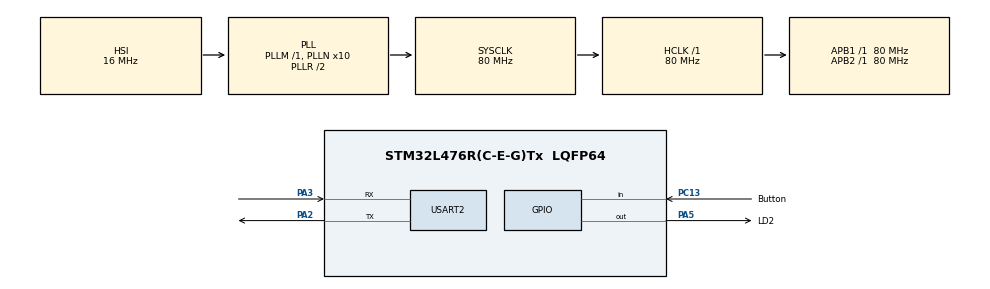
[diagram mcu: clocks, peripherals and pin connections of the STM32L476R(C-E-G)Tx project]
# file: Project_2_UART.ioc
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Mcu.Family=STM32L4
Mcu.Name=STM32L476R(C-E-G)Tx
Mcu.Package=LQFP64
NVIC.PriorityGroup=NVIC_PRIORITYGROUP_4
PA2.Mode=Asynchronous
PA2.Signal=USART2_TX
PA3.Mode=Asynchronous
PA3.Signal=USART2_RX
PA5.GPIO_Label=LD2
PA5.Signal=GPIO_Output
PC13.GPIO_Label=Button
PC13.Signal=GPIO_Input
ProjectManager.HeapSize=0x200
ProjectManager.StackSize=0x400
ProjectManager.TargetToolchain=STM32CubeIDE
RCC.ADCFreq_Value=64000000
RCC.AHBFreq_Value=80000000
RCC.APB1Freq_Value=80000000
RCC.APB1TimFreq_Value=80000000
RCC.APB2Freq_Value=80000000
RCC.APB2TimFreq_Value=80000000
RCC.CortexFreq_Value=80000000
RCC.HCLKFreq_Value=80000000
RCC.HSE_VALUE=8000000
RCC.HSI_VALUE=16000000
RCC.LSE_VALUE=32768
RCC.MSI_VALUE=4000000
RCC.PLLN=10
RCC.PLLSourceVirtual=RCC_PLLSOURCE_HSI
RCC.PREFETCH_ENABLE=1
RCC.SYSCLKFreq_VALUE=80000000
RCC.SYSCLKSource=RCC_SYSCLKSOURCE_PLLCLK
RCC.USBFreq_Value=64000000
RCC.VCOOutputFreq_Value=160000000
USART2.OverrunDisableParam=ADVFEATURE_OVERRUN_DISABLE
USART2.VirtualMode-Asynchronous=VM_ASYNC
board=NUCLEO-L476RG

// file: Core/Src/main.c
/* USER CODE BEGIN Header */
/**
  ******************************************************************************
  * @file           : main.c
  * @brief          : Main program body
  ******************************************************************************
  * @attention
  *
  * Copyright (c) 2024 STMicroelectronics.
  * All rights reserved.
  *
  * This software is licensed under terms that can be found in the LICENSE file
  * in the root directory of this software component.
  * If no LICENSE file comes with this software, it is provided AS-IS.
  *
  ******************************************************************************
  */
/* USER CODE END Header */
#include "main.h"
#include <stdio.h>
#include <string.h>

UART_HandleTypeDef huart2;

void SystemClock_Config(void);
static void MX_GPIO_Init(void);
static void MX_USART2_UART_Init(void);

/* USER CODE BEGIN 0 */
#define LINE_MAX_LENGTH	80

static char line_buffer[LINE_MAX_LENGTH + 1];
static uint32_t line_length;

void line_append(uint8_t value)
{
	if (value == '\r' || value == '\n') {
		// odebraliśmy znak końca linii
		if (line_length > 0) {
			// jeśli bufor nie jest pusty to dodajemy 0 na końcu linii
			line_buffer[line_length] = '\0';
			// przetwarzamy dane
			if (strcmp(line_buffer, "on") == 0) {
				HAL_GPIO_WritePin(LD2_GPIO_Port, LD2_Pin, GPIO_PIN_SET);
			} else if (strcmp(line_buffer, "off") == 0) {
				HAL_GPIO_WritePin(LD2_GPIO_Port, LD2_Pin, GPIO_PIN_RESET);
			} else {
				printf("Nieznane polecenie: %s\n", line_buffer);
			}
			// zaczynamy zbieranie danych od nowa
			line_length = 0;
		}
	}
	else {
		if (line_length >= LINE_MAX_LENGTH) {
			// za dużo danych, usuwamy wszystko co odebraliśmy dotychczas
			line_length = 0;
		}
		// dopisujemy wartość do bufora
		line_buffer[line_length++] = value;
	}
}

int __io_putchar(int ch)
{
    if (ch == '\n') {
        uint8_t ch2 = '\r';
        HAL_UART_Transmit(&huart2, &ch2, 1, HAL_MAX_DELAY);
    }

	HAL_UART_Transmit(&huart2, (uint8_t*)&ch, 1, HAL_MAX_DELAY);
	return 1;
}
/* USER CODE END 0 */

int main(void)
{

  /* MCU Configuration--------------------------------------------------------*/

  /* Reset of all peripherals, Initializes the Flash interface and the Systick. */
  HAL_Init();

  /* Configure the system clock */
  SystemClock_Config();

  /* Initialize all configured peripherals */
  MX_GPIO_Init();
  MX_USART2_UART_Init();
  /* USER CODE BEGIN 2 */
  	  int number = 0;
  	  //float pi = 3.14;
  	  //printf("Liczba pi: %f\n", pi);
  /* USER CODE END 2 */

  /* Infinite loop */
  /* USER CODE BEGIN WHILE */
  while (1)
  {
	  if (HAL_GPIO_ReadPin(Button_GPIO_Port, Button_Pin) == GPIO_PIN_RESET){
		  HAL_Delay(500);
		  number++;
		  printf("Liczba: %d\n", number);
	  }
	  if(number > 10){
		  HAL_GPIO_WritePin(LD2_GPIO_Port, LD2_Pin, GPIO_PIN_SET);
	  }
	  uint8_t value;
	  	  if (HAL_UART_Receive(&huart2, &value, 1, 0) == HAL_OK)
	  		  line_append(value);

    /* USER CODE END WHILE */

  }
}

void SystemClock_Config(void)
{
  RCC_OscInitTypeDef RCC_OscInitStruct = {0};
  RCC_ClkInitTypeDef RCC_ClkInitStruct = {0};

  /** Configure the main internal regulator output voltage
  */
  if (HAL_PWREx_ControlVoltageScaling(PWR_REGULATOR_VOLTAGE_SCALE1) != HAL_OK)
  {
    Error_Handler();
  }

  /** Initializes the RCC Oscillators according to the specified parameters
  * in the RCC_OscInitTypeDef structure.
  */
  RCC_OscInitStruct.OscillatorType = RCC_OSCILLATORTYPE_HSI;
  RCC_OscInitStruct.HSIState = RCC_HSI_ON;
  RCC_OscInitStruct.HSICalibrationValue = RCC_HSICALIBRATION_DEFAULT;
  RCC_OscInitStruct.PLL.PLLState = RCC_PLL_ON;
  RCC_OscInitStruct.PLL.PLLSource = RCC_PLLSOURCE_HSI;
  RCC_OscInitStruct.PLL.PLLM = 1;
  RCC_OscInitStruct.PLL.PLLN = 10;
  RCC_OscInitStruct.PLL.PLLP = RCC_PLLP_DIV7;
  RCC_OscInitStruct.PLL.PLLQ = RCC_PLLQ_DIV2;
  RCC_OscInitStruct.PLL.PLLR = RCC_PLLR_DIV2;
  if (HAL_RCC_OscConfig(&RCC_OscInitStruct) != HAL_OK)
  {
    Error_Handler();
  }

  /** Initializes the CPU, AHB and APB buses clocks
  */
  RCC_ClkInitStruct.ClockType = RCC_CLOCKTYPE_HCLK|RCC_CLOCKTYPE_SYSCLK
                              |RCC_CLOCKTYPE_PCLK1|RCC_CLOCKTYPE_PCLK2;
  RCC_ClkInitStruct.SYSCLKSource = RCC_SYSCLKSOURCE_PLLCLK;
  RCC_ClkInitStruct.AHBCLKDivider = RCC_SYSCLK_DIV1;
  RCC_ClkInitStruct.APB1CLKDivider = RCC_HCLK_DIV1;
  RCC_ClkInitStruct.APB2CLKDivider = RCC_HCLK_DIV1;

  if (HAL_RCC_ClockConfig(&RCC_ClkInitStruct, FLASH_LATENCY_4) != HAL_OK)
  {
    Error_Handler();
  }
}

static void MX_USART2_UART_Init(void)
{

  huart2.Instance = USART2;
  huart2.Init.BaudRate = 115200;
  huart2.Init.WordLength = UART_WORDLENGTH_8B;
  huart2.Init.StopBits = UART_STOPBITS_1;
  huart2.Init.Parity = UART_PARITY_NONE;
  huart2.Init.Mode = UART_MODE_TX_RX;
  huart2.Init.HwFlowCtl = UART_HWCONTROL_NONE;
  huart2.Init.OverSampling = UART_OVERSAMPLING_16;
  huart2.Init.OneBitSampling = UART_ONE_BIT_SAMPLE_DISABLE;
  huart2.AdvancedInit.AdvFeatureInit = UART_ADVFEATURE_RXOVERRUNDISABLE_INIT;
  huart2.AdvancedInit.OverrunDisable = UART_ADVFEATURE_OVERRUN_DISABLE;
  if (HAL_UART_Init(&huart2) != HAL_OK)
  {
    Error_Handler();
  }

}

static void MX_GPIO_Init(void)
{
  GPIO_InitTypeDef GPIO_InitStruct = {0};

  /* GPIO Ports Clock Enable */
  __HAL_RCC_GPIOC_CLK_ENABLE();
  __HAL_RCC_GPIOA_CLK_ENABLE();

  /*Configure GPIO pin Output Level */
  HAL_GPIO_WritePin(LD2_GPIO_Port, LD2_Pin, GPIO_PIN_RESET);

  /*Configure GPIO pin : Button_Pin */
  GPIO_InitStruct.Pin = Button_Pin;
  GPIO_InitStruct.Mode = GPIO_MODE_INPUT;
  GPIO_InitStruct.Pull = GPIO_NOPULL;
  HAL_GPIO_Init(Button_GPIO_Port, &GPIO_InitStruct);

  /*Configure GPIO pin : LD2_Pin */
  GPIO_InitStruct.Pin = LD2_Pin;
  GPIO_InitStruct.Mode = GPIO_MODE_OUTPUT_PP;
  GPIO_InitStruct.Pull = GPIO_NOPULL;
  GPIO_InitStruct.Speed = GPIO_SPEED_FREQ_LOW;
  HAL_GPIO_Init(LD2_GPIO_Port, &GPIO_InitStruct);

}

void Error_Handler(void)
{
  __disable_irq();
  while (1)
  {
  }
}
